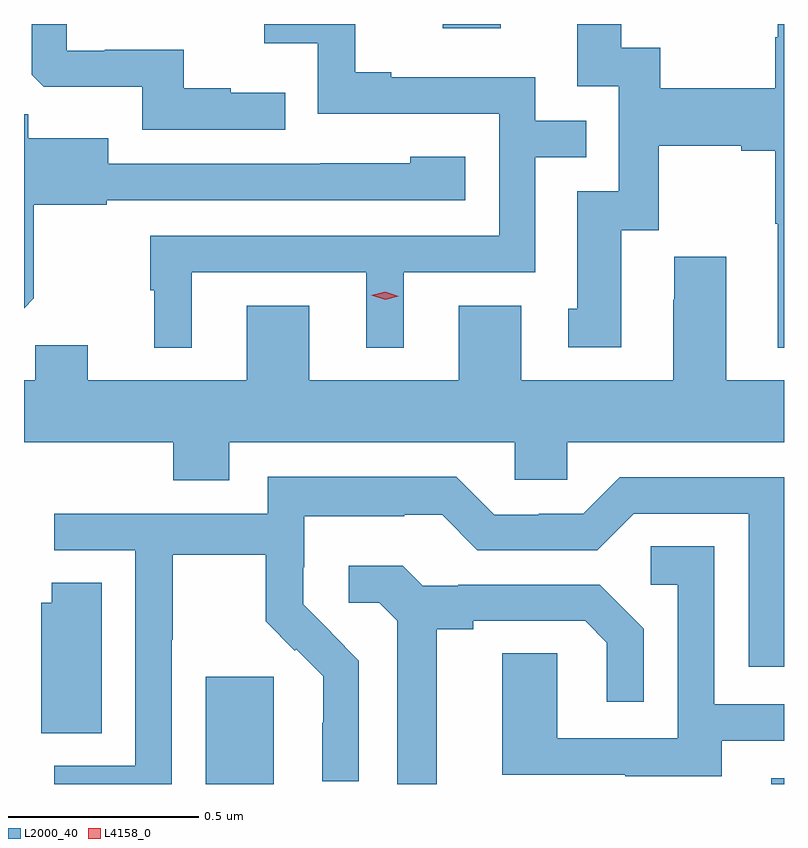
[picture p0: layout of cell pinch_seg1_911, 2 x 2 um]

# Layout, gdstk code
import gdstk
lib = gdstk.Library(unit=1e-6, precision=1e-09)
def R(c, l, rs):  # rectangles x0, y0, x1, y1
    for r in rs: c.add(gdstk.rectangle(r[:2], r[2:], *l))
def P(c, l, *ps):  # polygons
    for p in ps: c.add(gdstk.Polygon(p, *l))
L2000_40 = (2000, 40)
L4158_0 = (4158, 0)

pinch_seg1_911 = lib.new_cell('pinch_seg1_911')
R(pinch_seg1_911, L2000_40, [(594.449,534.849,594.628,535.131), (595.937,534.849,595.971,534.864), (595.073,536.838,595.225,536.849)])
P(pinch_seg1_911, L2000_40, [(594.412,536.196),(594.872,536.196),(594.872,535.997),(594.97,535.997),(594.97,536.196),(595.317,536.196),(595.317,536.499),(595.451,536.499),(595.451,536.595),(595.317,536.595),(595.317,536.709),(594.937,536.709),(594.937,536.722),(594.843,536.722),(594.843,536.849),(594.603,536.849),(594.603,536.798),(594.744,536.798),(594.744,536.613),(595.221,536.613),(595.221,536.292),(594.303,536.292),(594.303,536.148),(594.314,536.148),(594.314,535.997),(594.412,535.997)],
  [(594.659,536.668),(594.515,536.668),(594.515,536.68),(594.392,536.68),(594.392,536.781),(594.184,536.781),(594.184,536.778),(594.084,536.778),(594.084,536.849),(593.991,536.849),(593.991,536.715),(594.023,536.684),(594.282,536.684),(594.282,536.571),(594.659,536.571)],
  [(595.971,536.849),(595.955,536.849),(595.955,536.814),(595.948,536.814),(595.948,536.68),(595.645,536.68),(595.645,536.786),(595.543,536.786),(595.543,536.849),(595.427,536.849),(595.427,536.685),(595.536,536.685),(595.536,536.409),(595.427,536.409),(595.427,536.1),(595.403,536.1),(595.403,535.998),(595.543,535.998),(595.543,536.306),(595.641,536.306),(595.641,536.528),(595.859,536.528),(595.859,536.516),(595.948,536.516),(595.948,536.323),(595.955,536.323),(595.955,535.997),(595.971,535.997)],
  [(593.997,536.127),(593.997,536.373),(594.189,536.373),(594.189,536.385),(595.132,536.385),(595.132,536.5),(594.987,536.5),(594.987,536.482),(594.751,536.482),(594.751,536.481),(594.193,536.481),(594.193,536.548),(593.982,536.548),(593.982,536.612),(593.971,536.612),(593.971,536.101)],
  [(594.511,535.748),(595.263,535.748),(595.263,535.65),(595.401,535.65),(595.401,535.748),(595.971,535.748),(595.971,535.912),(595.819,535.912),(595.819,536.236),(595.682,536.236),(595.682,536.123),(595.679,536.123),(595.679,535.912),(595.279,535.912),(595.279,536.107),(595.115,536.107),(595.115,535.912),(594.721,535.912),(594.721,536.107),(594.557,536.107),(594.557,535.912),(594.139,535.912),(594.139,536.003),(594.001,536.003),(594.001,535.912),(593.971,535.912),(593.971,535.748),(594.364,535.748),(594.364,535.649),(594.511,535.649)],
  [(594.36,535.228),(594.363,535.228),(594.363,535.452),(594.607,535.452),(594.607,535.277),(594.684,535.2),(594.687,535.203),(594.758,535.133),(594.758,535.01),(594.756,535.01),(594.756,534.856),(594.852,534.856),(594.852,535.174),(594.779,535.247),(594.78,535.248),(594.706,535.322),(594.706,535.419),(594.708,535.419),(594.708,535.553),(594.971,535.553),(594.971,535.557),(595.071,535.557),(595.164,535.464),(595.479,535.464),(595.575,535.56),(595.878,535.56),(595.878,535.158),(595.971,535.158),(595.971,535.656),(595.539,535.656),(595.443,535.56),(595.325,535.56),(595.325,535.557),(595.209,535.557),(595.109,535.657),(594.612,535.657),(594.612,535.56),(594.051,535.56),(594.051,535.464),(594.264,535.464),(594.264,534.897),(594.051,534.897),(594.051,534.849),(594.36,534.849)],
  [(595.807,534.963),(595.971,534.963),(595.971,535.059),(595.788,535.059),(595.788,535.475),(595.62,535.475),(595.62,535.374),(595.692,535.374),(595.692,534.969),(595.374,534.969),(595.374,535.193),(595.229,535.193),(595.229,534.873),(595.553,534.873),(595.553,534.869),(595.807,534.869)],
  [(595.057,535.256),(595.153,535.256),(595.153,535.278),(595.448,535.278),(595.505,535.221),(595.505,535.065),(595.602,535.065),(595.602,535.258),(595.486,535.374),(595.114,535.374),(595.114,535.371),(595.02,535.371),(594.968,535.423),(594.825,535.423),(594.825,535.326),(594.906,535.326),(594.953,535.279),(594.953,534.849),(595.057,534.849)],
  [(594.175,535.379),(594.044,535.379),(594.044,535.326),(594.017,535.326),(594.017,534.982),(594.175,534.982)])
P(pinch_seg1_911, L4158_0, [(594.921,536.124),(594.885,536.135),(594.885,536.135),(594.885,536.135),(594.921,536.144),(594.957,536.133),(594.957,536.132),(594.957,536.132)])

lib.write_gds('pinch_seg1_911.gds')
